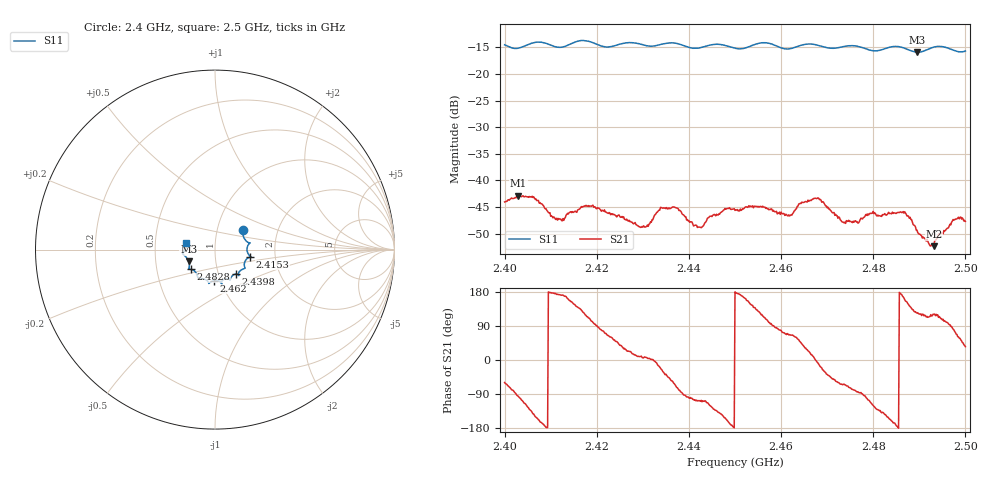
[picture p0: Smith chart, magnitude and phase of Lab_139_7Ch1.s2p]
# Hz S RI R 50
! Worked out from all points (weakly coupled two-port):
!   601 points, 2.4 GHz to 2.5 GHz, reference 50 ohm
!   highest |S21| = -42.88 dB at 2.403 GHz (marker M1); lowest = -52.4 dB at 2.4932 GHz (marker M2)
!   lowest |S11| = -15.9 dB at 2.4895 GHz (marker M3), VSWR 1.38, Z = 37 - j5.01 ohm
!   |S11| at or under -10 dB: start of sweep to end of sweep
!   S12 and S22 are empty: the file has one direction only
!   S11 on the Smith chart (normalised r, x): 2.4 GHz: 1.33, +0.29; 2.4153 GHz: 1.48, -0.12; 2.4398 GHz: 1.21, -0.34; 2.462 GHz: 0.93, -0.33; 2.4828 GHz: 0.74, -0.17; 2.5 GHz: 0.72, +0.06
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2.4e9  0.1554 0.1066  0.00319 -0.00539  0 0  0 0
2.403e9  0.165 0.059  -0.000781 -0.00713  0 0  0 0
2.406333e9  0.1936 0.0374  -0.00555 -0.00422  0 0  0 0
2.411e9  0.1801 0.0142  -0.00432 0.000299  0 0  0 0
2.415333e9  0.1961 -0.0387  -0.00419 0.00297  0 0  0 0
2.416667e9  0.202 -0.0425  -0.00377 0.00423  0 0  0 0
2.4295e9  0.1578 -0.1076  0.00356 0.000582  0 0  0 0
2.433333e9  0.131 -0.1337  0.00498 -0.00131  0 0  0 0
2.437e9  0.1321 -0.1436  0.00231 -0.00506  0 0  0 0
2.439833e9  0.1155 -0.1365  -0.000558 -0.00413  0 0  0 0
2.442333e9  0.093 -0.1496  -0.0011 -0.00346  0 0  0 0
2.45e9  0.0647 -0.1624  -0.00521 6.78e-06  0 0  0 0
2.462e9  -0.005 -0.1732  0.00192 0.00427  0 0  0 0
2.466667e9  -0.0345 -0.188  0.00636 0.00159  0 0  0 0
2.4735e9  -0.0843 -0.1602  0.00174 -0.00365  0 0  0 0
2.482833e9  -0.1363 -0.1095  -0.00395 -0.00256  0 0  0 0
2.483333e9  -0.14 -0.1091  -0.00446 -0.00227  0 0  0 0
2.486667e9  -0.1443 -0.1001  -0.00471 0.0014  0 0  0 0
2.4895e9  -0.1461 -0.0661  -0.0019 0.00282  0 0  0 0
2.493167e9  -0.1771 -0.0264  -0.00122 0.00207  0 0  0 0
2.4975e9  -0.167 -0.0016  0.000759 0.00418  0 0  0 0
2.5e9  -0.1599 0.0388  0.00336 0.00237  0 0  0 0
